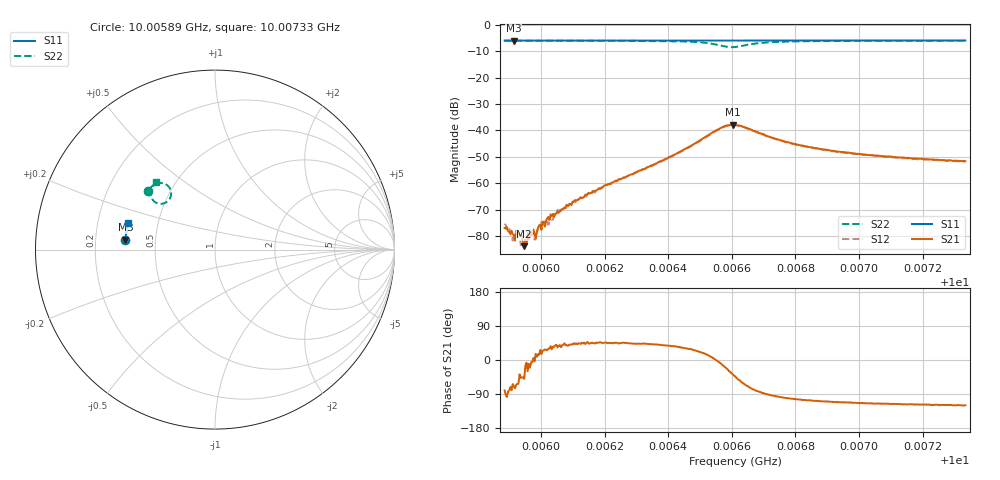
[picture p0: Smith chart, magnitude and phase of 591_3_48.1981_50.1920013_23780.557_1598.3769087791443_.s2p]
#  HZ  S  RI  R  50.00
! Rohde & Schwarz Vector Network Analyzer
! Rohde-Schwarz,ZNB20-2Port,1311601062101988,3.16
! Created: UTC 3/20/2024, 12:02:37 PM
! freq[Hz]  re:S11  im:S11  re:S21  im:S21  re:S12  im:S12  re:S22  im:S22
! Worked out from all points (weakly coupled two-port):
!   401 points, 10.00589 GHz to 10.00733 GHz, reference 50 ohm
!   highest |S21| = -37.80 dB at 10.0066 GHz (marker M1); lowest = -83.8 dB at 10.00595 GHz (marker M2)
!   lowest |S11| = -6.0 dB at 10.00591 GHz (marker M3), VSWR 3.02, Z = 16.6 + j2.47 ohm
!   |S11| at or under -10 dB: nowhere
!   |S22| runs from -8.5 to -6.0 dB; largest |S21 - S12| = 0.00092
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1.0005885e10  -0.4993 0.0537  2.39e-05 -0.000141  -4.37e-06 -0.000172  -0.3738 0.329
1.0005893e10  -0.4994 0.054  -1.93e-05 -0.000147  2.9e-05 -0.000135  -0.3733 0.3296
1.0005911e10  -0.4991 0.0554  4.84e-05 -9.72e-05  2.9e-05 -7.73e-05  -0.3725 0.3306
1.0005914e10  -0.4991 0.0555  3.73e-05 -9.91e-05  4.19e-05 -9.23e-05  -0.3722 0.3309
1.0005947e10  -0.499 0.0577  4.2e-05 -4.92e-05  8.2e-05 -1.99e-05  -0.3703 0.333
1.0005976e10  -0.4988 0.0595  0.000133 1.25e-05  0.000118 -2.51e-05  -0.3688 0.3349
1.0005987e10  -0.4988 0.0604  0.000118 1.74e-05  0.000126 -3.82e-06  -0.3682 0.3355
1.0006001e10  -0.4986 0.0612  0.000127 3.55e-05  0.000176 6.09e-05  -0.3673 0.3365
1.0006009e10  -0.4987 0.0618  0.000168 8.03e-05  0.000184 8.05e-05  -0.3668 0.3369
1.000603e10  -0.4985 0.0631  0.000209 0.000153  0.000168 0.000115  -0.3655 0.3384
1.0006052e10  -0.4983 0.0646  0.000244 0.00016  0.000257 0.000184  -0.3642 0.34
1.0006128e10  -0.4978 0.0693  0.000366 0.000374  0.000381 0.000382  -0.359 0.3452
1.0006204e10  -0.4972 0.0743  0.000643 0.000682  0.000596 0.00068  -0.3529 0.3509
1.0006371e10  -0.4957 0.0852  0.00195 0.00163  0.00182 0.0017  -0.3315 0.3652
1.0006519e10  -0.4937 0.0949  0.00747 0.002  0.00714 0.00227  -0.2725 0.3629
1.0006574e10  -0.4928 0.098  0.0114 -0.00316  0.0112 -0.00244  -0.2442 0.3096
1.0006603e10  -0.4924 0.0994  0.0101 -0.008  0.0104 -0.00712  -0.2651 0.2685
1.000661e10  -0.4924 0.0996  0.0093 -0.00873  0.00951 -0.00814  -0.2749 0.2618
1.000669e10  -0.4924 0.1045  0.000779 -0.0088  0.00121 -0.00862  -0.3523 0.2842
1.0006853e10  -0.4906 0.1153  -0.00142 -0.00455  -0.00118 -0.00452  -0.3559 0.3367
1.0007095e10  -0.4872 0.1308  -0.0014 -0.0029  -0.0012 -0.00292  -0.3406 0.3631
1.0007334e10  -0.4835 0.1458  -0.0013 -0.00228  -0.00115 -0.00228  -0.3271 0.3789
